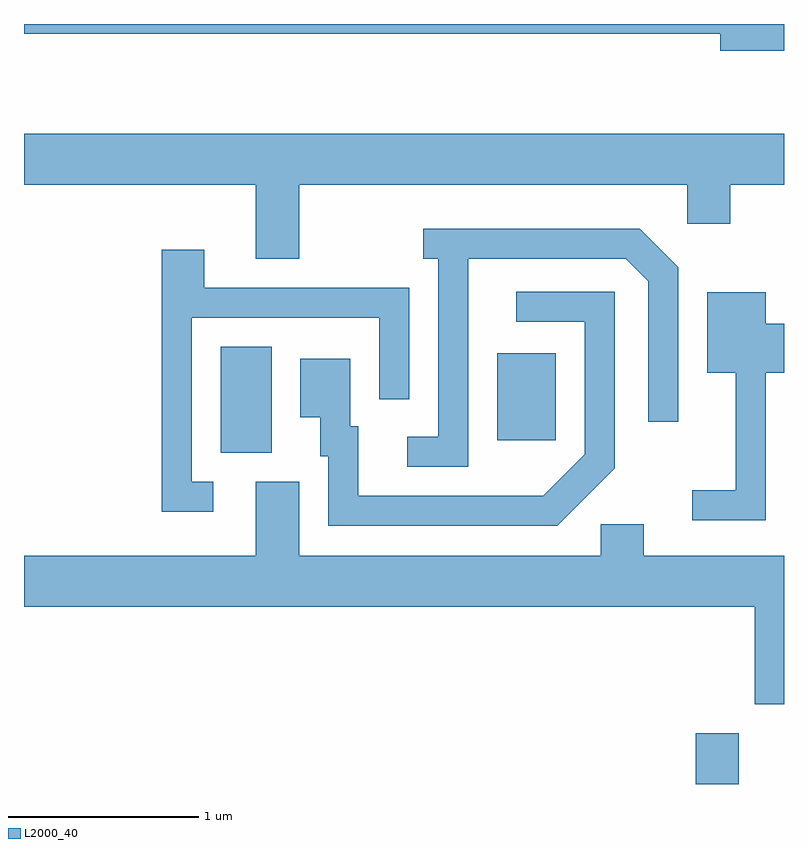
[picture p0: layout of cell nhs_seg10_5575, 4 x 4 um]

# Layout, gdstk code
import gdstk
lib = gdstk.Library(unit=1e-6, precision=1e-09)
def R(c, l, rs):  # rectangles x0, y0, x1, y1
    for r in rs: c.add(gdstk.rectangle(r[:2], r[2:], *l))
def P(c, l, *ps):  # polygons
    for p in ps: c.add(gdstk.Polygon(p, *l))
L2000_40 = (2000, 40)

nhs_seg10_5575 = lib.new_cell('nhs_seg10_5575')
R(nhs_seg10_5575, L2000_40, [(353.146,2128.522,353.374,2128.789), (350.646,2130.266,350.914,2130.824), (352.101,2130.331,352.409,2130.789)])
P(nhs_seg10_5575, L2000_40, [(353.611,2132.522),(349.611,2132.522),(349.611,2132.471),(353.276,2132.471),(353.276,2132.381),(353.611,2132.381)],
  [(351.059,2131.676),(353.101,2131.676),(353.101,2131.471),(353.329,2131.471),(353.329,2131.676),(353.611,2131.676),(353.611,2131.944),(349.611,2131.944),(349.611,2131.676),(350.831,2131.676),(350.831,2131.286),(351.059,2131.286)],
  [(351.949,2131.286),(352.779,2131.286),(352.896,2131.169),(352.896,2130.428),(353.054,2130.428),(353.054,2131.242),(352.852,2131.444),(351.713,2131.444),(351.713,2131.286),(351.791,2131.286),(351.791,2130.349),(351.628,2130.349),(351.628,2130.191),(351.949,2130.191)],
  [(350.608,2130.114),(350.494,2130.114),(350.494,2130.976),(351.481,2130.976),(351.481,2130.548),(351.639,2130.548),(351.639,2131.134),(350.559,2131.134),(350.559,2131.334),(350.336,2131.334),(350.336,2129.956),(350.608,2129.956)],
  [(352.719,2130.184),(352.719,2131.114),(352.203,2131.114),(352.203,2130.956),(352.561,2130.956),(352.561,2130.257),(352.344,2130.039),(351.369,2130.039),(351.369,2130.404),(351.329,2130.404),(351.329,2130.759),(351.066,2130.759),(351.066,2130.451),(351.171,2130.451),(351.171,2130.246),(351.211,2130.246),(351.211,2129.881),(352.417,2129.881)],
  [(353.514,2130.686),(353.611,2130.686),(353.611,2130.944),(353.514,2130.944),(353.514,2131.109),(353.206,2131.109),(353.206,2130.686),(353.356,2130.686),(353.356,2130.069),(353.128,2130.069),(353.128,2129.911),(353.514,2129.911)],
  [(353.611,2129.724),(352.874,2129.724),(352.874,2129.889),(352.646,2129.889),(352.646,2129.724),(351.059,2129.724),(351.059,2130.114),(350.831,2130.114),(350.831,2129.724),(349.611,2129.724),(349.611,2129.456),(353.456,2129.456),(353.456,2128.941),(353.611,2128.941)])

lib.write_gds('nhs_seg10_5575.gds')
